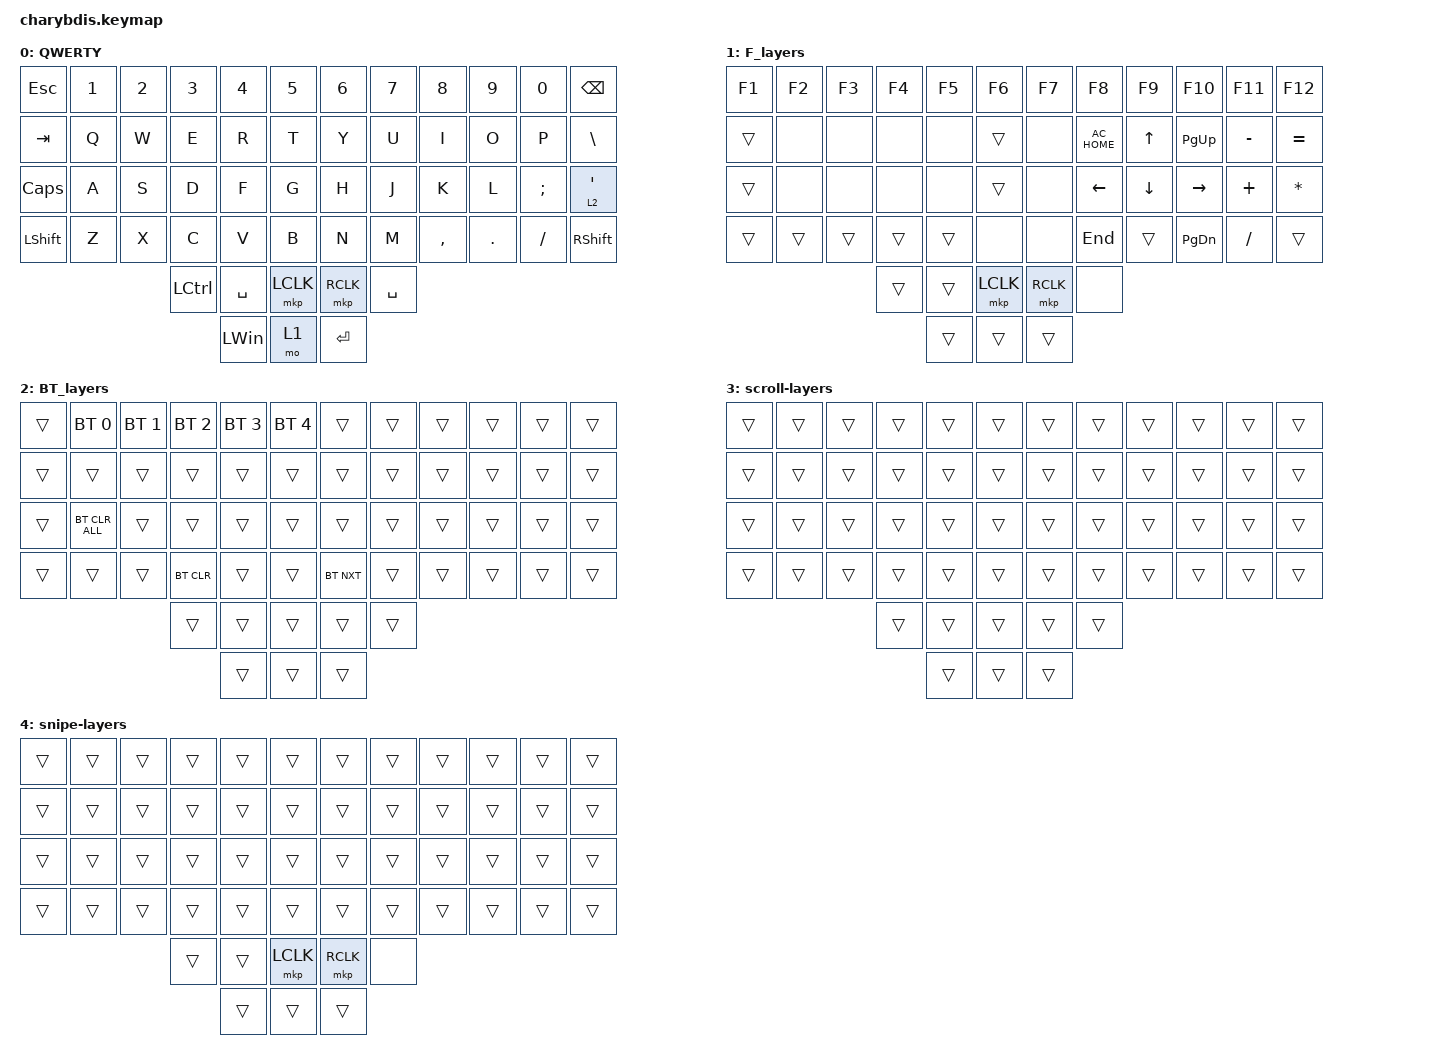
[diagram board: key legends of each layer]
#include <behaviors.dtsi>
#include <dt-bindings/zmk/bt.h>
#include <dt-bindings/zmk/keys.h>
#include <dt-bindings/zmk/pointing.h>
#include <dt-bindings/zmk/rgb.h>

&lt {
    tapping-term-ms = <200>;
    flavor = "balanced";
    quick-tap-ms = <150>;
};

/ {
    macros {
        To1_macro: To1_macro {
            compatible = "zmk,behavior-macro";
            label = "To1_macro";
            #binding-cells = <0>;
            bindings = <&rgb_ug RGB_EFF &rgb_ug RGB_COLOR_HSB(128,100,50) &to 1>;
        };

        To0_macro: To0_macro {
            compatible = "zmk,behavior-macro";
            label = "To0_macro";
            #binding-cells = <0>;
            bindings = <&rgb_ug RGB_EFR &to 0>;
        };

        To2_macro: To2_macro {
            compatible = "zmk,behavior-macro";
            label = "To2_macro";
            #binding-cells = <0>;
            bindings =
                <&to 2>,
                <&macro_wait_time 30>,
                <&rgb_ug RGB_COLOR_HSB(250,100,50)>;
        };
    };

    keymap {
        compatible = "zmk,keymap";

        QWERTY {
            bindings = <
&kp ESC         &kp N1  &kp N2  &kp N3            &kp N4        &kp N5       &kp N6     &kp N7     &kp N8     &kp N9   &kp N0    &kp BACKSPACE
&kp TAB         &kp Q   &kp W   &kp E             &kp R         &kp T        &kp Y      &kp U      &kp I      &kp O    &kp P     &kp BSLH
&kp CAPSLOCK    &kp A   &kp S   &kp D             &kp F         &kp G        &kp H      &kp J      &kp K      &kp L    &kp SEMI  &lt 2 SQT
&kp LEFT_SHIFT  &kp Z   &kp X   &kp C             &kp V         &kp B        &kp N      &kp M      &kp COMMA  &kp DOT  &kp FSLH  &kp RIGHT_SHIFT
                                &kp LEFT_CONTROL  &kp SPACE     &mkp LCLK    &mkp RCLK  &kp SPACE
                                                  &kp LEFT_WIN  &mo 1        &kp ENTER
            >;
        };

        F_layers {
            bindings = <
&kp F1  &kp F2  &kp F3  &kp F4  &kp F5  &kp F6       &kp F7     &kp F8         &kp F9    &kp F10        &kp F11    &kp F12
&trans  &none   &none   &none   &none   &trans       &none      &kp C_AC_HOME  &kp UP    &kp PAGE_UP    &kp MINUS  &kp EQUAL
&trans  &none   &none   &none   &none   &trans       &none      &kp LEFT       &kp DOWN  &kp RIGHT      &kp PLUS   &kp STAR
&trans  &trans  &trans  &trans  &trans  &none        &none      &kp END        &trans    &kp PAGE_DOWN  &kp FSLH   &trans
                        &trans  &trans  &mkp LCLK    &mkp RCLK  &none
                                &trans  &trans       &trans
            >;
        };

        BT_layers {
            bindings = <
&trans  &bt BT_SEL 0    &bt BT_SEL 1  &bt BT_SEL 2  &bt BT_SEL 3  &bt BT_SEL 4    &trans      &trans  &trans  &trans  &trans  &trans
&trans  &trans          &trans        &trans        &trans        &trans          &trans      &trans  &trans  &trans  &trans  &trans
&trans  &bt BT_CLR_ALL  &trans        &trans        &trans        &trans          &trans      &trans  &trans  &trans  &trans  &trans
&trans  &trans          &trans        &bt BT_CLR    &trans        &trans          &bt BT_NXT  &trans  &trans  &trans  &trans  &trans
                                      &trans        &trans        &trans          &trans      &trans
                                                    &trans        &trans          &trans
            >;
        };

        scroll-layers {
            bindings = <
&trans  &trans  &trans  &trans  &trans  &trans    &trans  &trans  &trans  &trans  &trans  &trans
&trans  &trans  &trans  &trans  &trans  &trans    &trans  &trans  &trans  &trans  &trans  &trans
&trans  &trans  &trans  &trans  &trans  &trans    &trans  &trans  &trans  &trans  &trans  &trans
&trans  &trans  &trans  &trans  &trans  &trans    &trans  &trans  &trans  &trans  &trans  &trans
                        &trans  &trans  &trans    &trans  &trans
                                &trans  &trans    &trans
            >;
        };

        snipe-layers {
            bindings = <
&trans  &trans  &trans  &trans  &trans  &trans       &trans     &trans  &trans  &trans  &trans  &trans
&trans  &trans  &trans  &trans  &trans  &trans       &trans     &trans  &trans  &trans  &trans  &trans
&trans  &trans  &trans  &trans  &trans  &trans       &trans     &trans  &trans  &trans  &trans  &trans
&trans  &trans  &trans  &trans  &trans  &trans       &trans     &trans  &trans  &trans  &trans  &trans
                        &trans  &trans  &mkp LCLK    &mkp RCLK  &none
                                &trans  &trans       &trans
            >;
        };
    };
};
